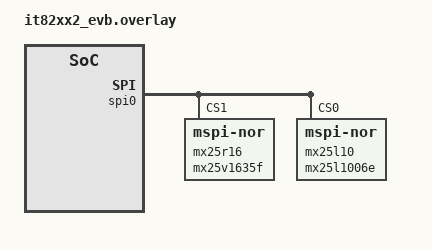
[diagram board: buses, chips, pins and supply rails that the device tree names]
/*
 * Copyright (c) 2026 ITE Corporation. All Rights Reserved.
 *
 * SPDX-License-Identifier: Apache-2.0
 */

#include <freq.h>

/ {
	aliases {
		flash0 = &mx25r16;
	};
};

&spi0 {
	status = "okay";

	pinctrl-0 = <&spi_ssce0_default
		     &spi_ssce1_default
		     &spi_ssck_default
		     &spi_smosi_default
		     &spi_smiso_default
		     &spi_sio2_default
		     &spi_sio3_default>;
	pinctrl-names = "default";

	mx25r16: mx25v1635f@1 {
		compatible = "jedec,mspi-nor";
		reg = <1>;
		size = <DT_SIZE_M(512)>;
		status = "okay";
		mspi-max-frequency = <DT_FREQ_M(3)>;
		mspi-io-mode = "MSPI_IO_MODE_SINGLE";
		mspi-data-rate = "MSPI_DATA_RATE_SINGLE";
		mspi-hardware-ce-num = <1>;
		read-command = <0x0b>;
		write-command = <0x02>;
		command-length = "INSTR_1_BYTE";
		address-length = "ADDR_3_BYTE";
		rx-dummy = <20>;
		jedec-id = [c2 23 15];

		// use-4byte-addressing;
		//initial-soft-reset;
		transfer-timeout = <1000>;
	};

	mx25l10: mx25l1006e@0 {
		compatible = "jedec,mspi-nor";
		reg = <0>;
		mspi-max-frequency = <DT_FREQ_M(3)>;
		mspi-io-mode = "MSPI_IO_MODE_SINGLE";
		jedec-id = [c2 20 11];
		size = <0x100000>; // 1Mb
	};
};
